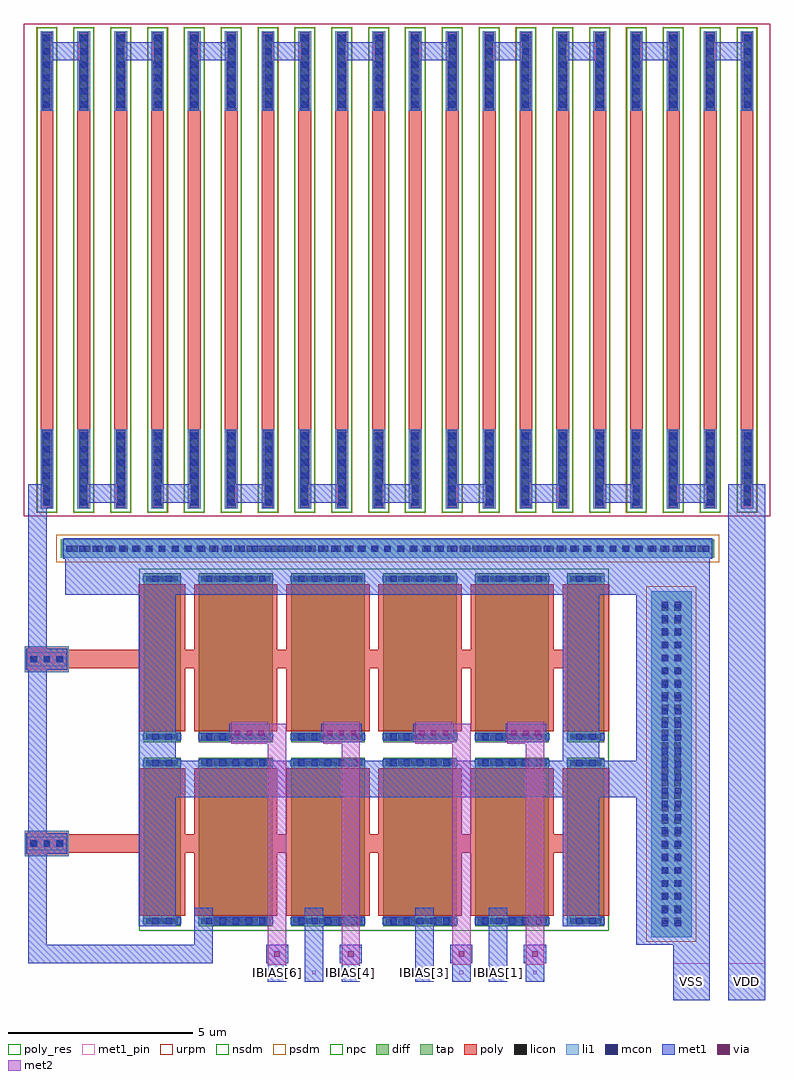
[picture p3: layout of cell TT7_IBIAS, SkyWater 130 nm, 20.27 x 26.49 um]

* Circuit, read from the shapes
.subckt TT7_IBIAS IBIAS[0] IBIAS[1] IBIAS[2] IBIAS[3] IBIAS[4] IBIAS[5] IBIAS[6] VDD VSS
XM1 VSS n1 VSS VSS sky130_fd_pr__nfet_01v8 w=1 l=4 m=4
XM2 VSS n1 n1 VSS sky130_fd_pr__nfet_01v8 w=2 l=4
XM3 VSS n1 IBIAS[6] VSS sky130_fd_pr__nfet_01v8 w=2 l=4
XM4 VSS n1 IBIAS[5] VSS sky130_fd_pr__nfet_01v8 w=2 l=4
XM5 VSS n1 IBIAS[4] VSS sky130_fd_pr__nfet_01v8 w=2 l=4
XM6 VSS n1 IBIAS[3] VSS sky130_fd_pr__nfet_01v8 w=2 l=4
XM7 VSS n1 IBIAS[2] VSS sky130_fd_pr__nfet_01v8 w=2 l=4
XM8 VSS n1 IBIAS[1] VSS sky130_fd_pr__nfet_01v8 w=2 l=4
XM9 VSS n1 IBIAS[0] VSS sky130_fd_pr__nfet_01v8 w=2 l=4
XR10 n2 n1 VSS sky130_fd_pr__res_xhigh_po w=0.35 l=8.68
XR11 n2 n3 VSS sky130_fd_pr__res_xhigh_po w=0.35 l=8.68
XR12 n4 n3 VSS sky130_fd_pr__res_xhigh_po w=0.35 l=8.68
XR13 n4 n5 VSS sky130_fd_pr__res_xhigh_po w=0.35 l=8.68
XR14 n6 n5 VSS sky130_fd_pr__res_xhigh_po w=0.35 l=8.68
XR15 n6 n7 VSS sky130_fd_pr__res_xhigh_po w=0.35 l=8.68
XR16 n8 n7 VSS sky130_fd_pr__res_xhigh_po w=0.35 l=8.68
XR17 n8 n9 VSS sky130_fd_pr__res_xhigh_po w=0.35 l=8.68
XR18 n10 n9 VSS sky130_fd_pr__res_xhigh_po w=0.35 l=8.68
XR19 n10 n11 VSS sky130_fd_pr__res_xhigh_po w=0.35 l=8.68
XR20 n12 n11 VSS sky130_fd_pr__res_xhigh_po w=0.35 l=8.68
XR21 n12 n13 VSS sky130_fd_pr__res_xhigh_po w=0.35 l=8.68
XR22 n14 n13 VSS sky130_fd_pr__res_xhigh_po w=0.35 l=8.68
XR23 n14 n15 VSS sky130_fd_pr__res_xhigh_po w=0.35 l=8.68
XR24 n16 n15 VSS sky130_fd_pr__res_xhigh_po w=0.35 l=8.68
XR25 n16 n17 VSS sky130_fd_pr__res_xhigh_po w=0.35 l=8.68
XR26 n18 n17 VSS sky130_fd_pr__res_xhigh_po w=0.35 l=8.68
XR27 n18 n19 VSS sky130_fd_pr__res_xhigh_po w=0.35 l=8.68
XR28 n20 n19 VSS sky130_fd_pr__res_xhigh_po w=0.35 l=8.68
XR29 n20 VDD VSS sky130_fd_pr__res_xhigh_po w=0.35 l=8.68
.ends

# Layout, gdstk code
from math import pi, radians
import gdstk
lib = gdstk.Library(unit=1e-6, precision=1e-09)
def R(c, l, rs):  # rectangles x0, y0, x1, y1
    for r in rs: c.add(gdstk.rectangle(r[:2], r[2:], *l))
def A(c, l, x, y, w, h, nx, ny, dx, dy):  # array of equal rectangles
    R(c, l, [(x+i*dx, y+j*dy, x+i*dx+w, y+j*dy+h) for i in range(nx) for j in range(ny)])
diff = (65, 20)
tap = (65, 44)
poly_res = (66, 13)
poly = (66, 20)
licon = (66, 44)
li1 = (67, 20)
mcon = (67, 44)
met1_pin = (68, 16)
met1 = (68, 20)
via = (68, 44)
met2 = (69, 20)
urpm = (79, 20)
nsdm = (93, 44)
psdm = (94, 20)
npc = (95, 20)

sky130_fd_pr__res_xhigh_ = lib.new_cell('sky130_fd_pr__res_xhigh_po_0p35_PPFX84')
R(sky130_fd_pr__res_xhigh_, poly_res, [(-0.175,-4.4,0.175,4.4)])
R(sky130_fd_pr__res_xhigh_, poly, [(-0.175,-6.48,0.175,6.48)])
R(sky130_fd_pr__res_xhigh_, licon, [(-0.095,-6.4,0.095,-4.4), (-0.095,4.4,0.095,6.4)])
R(sky130_fd_pr__res_xhigh_, li1, [(-0.175,-6.48,0.175,-4.32), (-0.175,4.32,0.175,6.48)])
A(sky130_fd_pr__res_xhigh_, mcon, -0.085, -6.385, 0.17, 0.17, 1, 6, 0, 0.36)
A(sky130_fd_pr__res_xhigh_, mcon, -0.085, 4.41, 0.17, 0.17, 1, 6, 0, 0.36)
R(sky130_fd_pr__res_xhigh_, met1, [(-0.125,-6.45,0.125,-4.345), (-0.125,4.345,0.125,6.45)])
R(sky130_fd_pr__res_xhigh_, urpm, [(-0.635,-6.68,0.635,6.68)])
R(sky130_fd_pr__res_xhigh_, psdm, [(-0.285,-6.59,0.285,6.59)])
R(sky130_fd_pr__res_xhigh_, npc, [(-0.27,-6.575,0.27,6.575)])

sky130_fd_pr__nfet_01v8_ = lib.new_cell('sky130_fd_pr__nfet_01v8_PBDAGK_SPECIAL')
R(sky130_fd_pr__nfet_01v8_, diff, [(-2.29,-1,2.29,1)])
R(sky130_fd_pr__nfet_01v8_, poly, [(-2,-1.13,2,1.13)])
A(sky130_fd_pr__nfet_01v8_, licon, -2.23, -0.935, 0.17, 0.17, 1, 6, 0, 0.34)
A(sky130_fd_pr__nfet_01v8_, licon, 2.06, -0.935, 0.17, 0.17, 1, 6, 0, 0.34)
R(sky130_fd_pr__nfet_01v8_, li1, [(-2.23,-1.02,-2.06,1.02), (2.06,-1.02,2.23,1.02)])
A(sky130_fd_pr__nfet_01v8_, mcon, -2.23, -0.805, 0.17, 0.17, 1, 5, 0, 0.36)
A(sky130_fd_pr__nfet_01v8_, mcon, 2.06, -0.805, 0.17, 0.17, 1, 5, 0, 0.36)
R(sky130_fd_pr__nfet_01v8_, met1, [(-2.26,-1,-2.03,1), (2.03,-1,2.26,1)])
R(sky130_fd_pr__nfet_01v8_, nsdm, [(-2.415,-1.125,2.415,1.125)])

c_sky130_fd_pr__nfet_01v8_ = lib.new_cell('sky130_fd_pr__nfet_01v8_PK5RFK')
R(c_sky130_fd_pr__nfet_01v8_, diff, [(-2.29,-0.5,2.29,0.5)])
R(c_sky130_fd_pr__nfet_01v8_, poly, [(-2,-0.63,2,0.63)])
A(c_sky130_fd_pr__nfet_01v8_, licon, -2.23, -0.425, 0.17, 0.17, 1, 3, 0, 0.34)
A(c_sky130_fd_pr__nfet_01v8_, licon, 2.06, -0.425, 0.17, 0.17, 1, 3, 0, 0.34)
R(c_sky130_fd_pr__nfet_01v8_, li1, [(-2.23,-0.52,-2.06,0.52), (2.06,-0.52,2.23,0.52)])
R(c_sky130_fd_pr__nfet_01v8_, mcon, [(-2.23,-0.265,-2.06,-0.095), (2.06,-0.265,2.23,-0.095), (-2.23,0.095,-2.06,0.265), (2.06,0.095,2.23,0.265)])
R(c_sky130_fd_pr__nfet_01v8_, met1, [(-2.26,-0.5,-2.03,0.5), (2.03,-0.5,2.26,0.5)])
R(c_sky130_fd_pr__nfet_01v8_, nsdm, [(-2.415,-0.625,2.415,0.625)])

tt7_ibias = lib.new_cell('TT7_IBIAS')
R(tt7_ibias, tap, [(16.9,6.2,18,15.6), (0.88,16.5,18.62,17)])
R(tt7_ibias, poly, [(-0.1,8.4,1.1,8.5), (-0.1,8.5,15.5,9), (-0.1,9,1.1,9.1), (-0.1,13.4,1.1,13.5), (-0.1,13.5,15.5,14), (-0.1,14,1.1,14.1)])
A(tt7_ibias, licon, 17.195, 6.565, 0.17, 0.17, 1, 26, 0, 0.34)
A(tt7_ibias, licon, 17.535, 6.565, 0.17, 0.17, 1, 26, 0, 0.34)
A(tt7_ibias, licon, 0.075, 8.665, 0.17, 0.17, 3, 2, 0.34, 5)
A(tt7_ibias, licon, 1.165, 16.665, 0.17, 0.17, 51, 1, 0.34, 0)
R(tt7_ibias, li1, [(16.9,6.2,18,15.6), (-0.1,8.4,1.1,9.1), (-0.1,13.4,1.1,14.1), (0.92,16.5,18.58,17)])
A(tt7_ibias, mcon, 17.185, 6.495, 0.17, 0.17, 1, 25, 0, 0.36)
A(tt7_ibias, mcon, 17.545, 6.495, 0.17, 0.17, 1, 25, 0, 0.36)
A(tt7_ibias, mcon, 0.055, 8.665, 0.17, 0.17, 3, 2, 0.36, 5)
A(tt7_ibias, mcon, 1.025, 16.665, 0.17, 0.17, 49, 1, 0.36, 0)
A(tt7_ibias, met1_pin, 6.7, 5.2, 0.1, 0.1, 3, 1, 1, 0)
A(tt7_ibias, met1_pin, 10.7, 5.2, 0.1, 0.1, 4, 1, 1, 0)
R(tt7_ibias, met1_pin, [(17.5,4.5,18.5,5.5), (19,4.5,20,5.5)])
A(tt7_ibias, met1, 5.45, 11.5, 1.1, 0.5, 4, 1, 2.5, 0)
A(tt7_ibias, met1, 1.5, 18, 1, 0.5, 9, 1, 2, 0)
A(tt7_ibias, met1, 0.5, 30, 1, 0.5, 10, 1, 2, 0)
R(tt7_ibias, met1, [(17.5,4.5,18.5,6), (19,4.5,20,18.5), (6.5,5,7,5.5), (7.5,5,8,7), (8.5,5,9,5.5), (10.5,5,11,7), (11.5,5,12,5.5), (12.5,5,13,7), (13.5,5,14,5.5), (0,5.5,5,6), (6.45,5.5,7.05,6), (8.45,5.5,9.05,6), (11.45,5.5,12.05,6), (13.45,5.5,14.05,6), (0,6,0.5,8.47), (4.5,6,5,7), (16.5,6,18.5,10), (3,6.5,4,10), (14.5,6.5,15.5,10), (-0.06,8.47,1.06,9.03), (0,9.03,0.5,13.47), (3,10,18.5,11), (3,11,4,15.5), (14.5,11,15.5,15.5), (16.5,11,18.5,15.5), (-0.06,13.47,1.06,14.03), (0,14.03,0.5,18.5), (1,15.5,18.5,16.47), (0.94,16.47,18.56,17.03)])
A(tt7_ibias, via, 5.605, 11.675, 0.15, 0.15, 3, 1, 0.32, 0)
A(tt7_ibias, via, 8.105, 11.675, 0.15, 0.15, 3, 1, 0.32, 0)
A(tt7_ibias, via, 10.605, 11.675, 0.15, 0.15, 3, 1, 0.32, 0)
A(tt7_ibias, via, 13.105, 11.675, 0.15, 0.15, 3, 1, 0.32, 0)
R(tt7_ibias, via, [(6.675,5.675,6.825,5.825), (8.675,5.675,8.825,5.825), (11.675,5.675,11.825,5.825), (13.675,5.675,13.825,5.825)])
R(tt7_ibias, met2, [(6.5,5.45,7,11.45), (8.5,5.45,9,11.45), (11.5,5.45,12,11.45), (13.5,5.45,14,11.45), (5.5,11.45,7,12), (8,11.45,9,12.05), (10.5,11.45,12,12), (13,11.45,14,12.05), (5.5,12,6.5,12.05), (10.5,12,11.5,12.05)])
A(tt7_ibias, nsdm, 4.255, 6.375, 0.25, 4.83, 5, 2, 2.5, 5)
R(tt7_ibias, nsdm, [(3.005,11.205,15.755,11.375)])
R(tt7_ibias, psdm, [(16.775,6.075,18.125,15.725), (0.755,16.375,18.745,17.125)])
R(tt7_ibias, npc, [(-0.025,8.565,1.025,8.935), (-0.025,13.565,1.025,13.935)])
tt7_ibias.add(gdstk.Reference(sky130_fd_pr__res_xhigh_, (0.505,24.31)))
tt7_ibias.add(gdstk.Reference(sky130_fd_pr__res_xhigh_, (1.505,24.31)))
tt7_ibias.add(gdstk.Reference(sky130_fd_pr__res_xhigh_, (2.505,24.31)))
tt7_ibias.add(gdstk.Reference(sky130_fd_pr__nfet_01v8_, (5.63,8.79), rotation=3*pi/2))
tt7_ibias.add(gdstk.Reference(sky130_fd_pr__nfet_01v8_, (5.63,13.79), rotation=3*pi/2))
tt7_ibias.add(gdstk.Reference(c_sky130_fd_pr__nfet_01v8_, (3.63,8.79), rotation=3*pi/2))
tt7_ibias.add(gdstk.Reference(c_sky130_fd_pr__nfet_01v8_, (3.63,13.79), rotation=3*pi/2))
tt7_ibias.add(gdstk.Reference(sky130_fd_pr__res_xhigh_, (3.505,24.31)))
tt7_ibias.add(gdstk.Reference(sky130_fd_pr__res_xhigh_, (4.505,24.31)))
tt7_ibias.add(gdstk.Reference(sky130_fd_pr__nfet_01v8_, (8.13,13.79), rotation=3*pi/2))
tt7_ibias.add(gdstk.Reference(sky130_fd_pr__nfet_01v8_, (8.13,8.79), rotation=3*pi/2))
tt7_ibias.add(gdstk.Reference(sky130_fd_pr__res_xhigh_, (6.505,24.31)))
tt7_ibias.add(gdstk.Reference(sky130_fd_pr__res_xhigh_, (5.505,24.31)))
tt7_ibias.add(gdstk.Reference(sky130_fd_pr__res_xhigh_, (7.505,24.31)))
tt7_ibias.add(gdstk.Reference(sky130_fd_pr__res_xhigh_, (8.505,24.31)))
tt7_ibias.add(gdstk.Reference(sky130_fd_pr__res_xhigh_, (9.505,24.31)))
tt7_ibias.add(gdstk.Reference(sky130_fd_pr__nfet_01v8_, (10.63,13.79), rotation=3*pi/2))
tt7_ibias.add(gdstk.Reference(sky130_fd_pr__nfet_01v8_, (10.63,8.79), rotation=3*pi/2))
tt7_ibias.add(gdstk.Reference(sky130_fd_pr__res_xhigh_, (10.505,24.31)))
tt7_ibias.add(gdstk.Reference(sky130_fd_pr__res_xhigh_, (11.505,24.31)))
tt7_ibias.add(gdstk.Reference(sky130_fd_pr__nfet_01v8_, (13.13,13.79), rotation=3*pi/2))
tt7_ibias.add(gdstk.Reference(sky130_fd_pr__nfet_01v8_, (13.13,8.79), rotation=3*pi/2))
tt7_ibias.add(gdstk.Reference(sky130_fd_pr__res_xhigh_, (12.505,24.31)))
tt7_ibias.add(gdstk.Reference(sky130_fd_pr__res_xhigh_, (13.505,24.31)))
tt7_ibias.add(gdstk.Reference(c_sky130_fd_pr__nfet_01v8_, (15.13,13.79), rotation=3*pi/2))
tt7_ibias.add(gdstk.Reference(c_sky130_fd_pr__nfet_01v8_, (15.13,8.79), rotation=3*pi/2))
tt7_ibias.add(gdstk.Reference(sky130_fd_pr__res_xhigh_, (14.505,24.31)))
tt7_ibias.add(gdstk.Reference(sky130_fd_pr__res_xhigh_, (15.505,24.31)))
tt7_ibias.add(gdstk.Reference(sky130_fd_pr__res_xhigh_, (16.505,24.31)))
tt7_ibias.add(gdstk.Reference(sky130_fd_pr__res_xhigh_, (17.505,24.31)))
tt7_ibias.add(gdstk.Reference(sky130_fd_pr__res_xhigh_, (18.505,24.31)))
tt7_ibias.add(gdstk.Reference(sky130_fd_pr__res_xhigh_, (19.505,24.31)))
tt7_ibias.add(gdstk.Label('VDD', (19.5,5), layer=68, texttype=5))
tt7_ibias.add(gdstk.Label('VSS', (18,5), layer=68, texttype=5))
tt7_ibias.add(gdstk.Label('IBIAS[6]', (6.75,5.25), layer=68, texttype=5))
tt7_ibias.add(gdstk.Label('IBIAS[5]', (7.75,5.25), layer=68, texttype=5))
tt7_ibias.add(gdstk.Label('IBIAS[4]', (8.75,5.25), layer=68, texttype=5))
tt7_ibias.add(gdstk.Label('IBIAS[3]', (10.75,5.25), layer=68, texttype=5))
tt7_ibias.add(gdstk.Label('IBIAS[2]', (11.75,5.25), layer=68, texttype=5))
tt7_ibias.add(gdstk.Label('IBIAS[1]', (12.75,5.25), layer=68, texttype=5))
tt7_ibias.add(gdstk.Label('IBIAS[0]', (13.75,5.25), layer=68, texttype=5))

lib.write_gds('TT7_IBIAS.gds')
